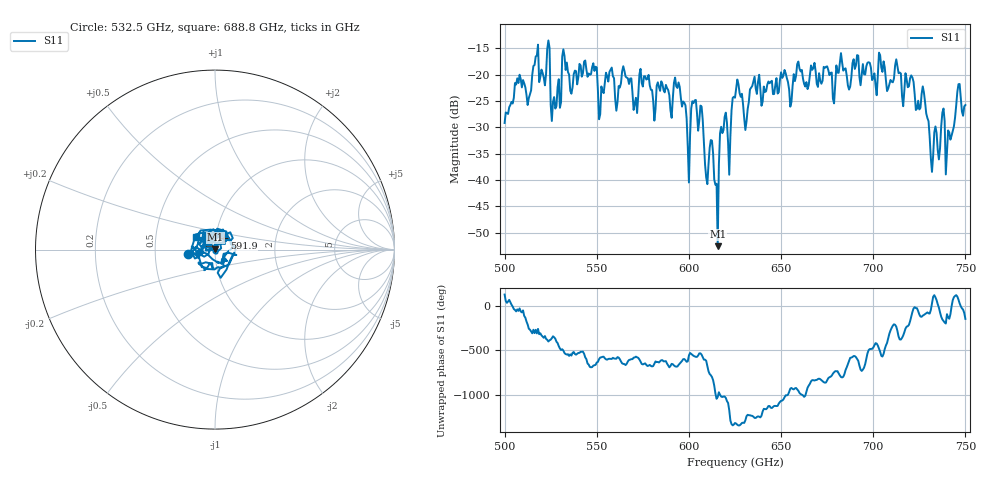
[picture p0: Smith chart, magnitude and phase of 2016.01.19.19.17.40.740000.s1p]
!Created with skrf (http://scikit-rf.org).
# GHz S RI R 50.0
!freq ReS11 ImS11
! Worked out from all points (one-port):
!   401 points, 500 GHz to 750 GHz, reference 50 ohm
!   lowest |S11| = -52.5 dB at 615.6 GHz (marker M1), VSWR 1.00, Z = 50.1 + j0.199 ohm
!   |S11| at or under -10 dB: start of sweep to end of sweep
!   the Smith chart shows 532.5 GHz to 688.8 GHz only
!   S11 on the Smith chart (normalised r, x): 532.5 GHz: 0.74, -0.04; 591.9 GHz: 1.10, +0.14; 688.8 GHz: 0.80, +0.12
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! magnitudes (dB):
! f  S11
! 500 GHz  -29.2
! 506.9 GHz  -20.7
! 513.1 GHz  -24.4
! 516.9 GHz  -16.5
! 523.1 GHz  -15.1
! 526.2 GHz  -25.1
! 531.2 GHz  -16.5
! 532.5 GHz  -16.5
! 548.8 GHz  -19.3
! 551.9 GHz  -27.5
! 562.5 GHz  -22.4
! 591.9 GHz  -21.5
! 593.8 GHz  -22.5
! 599.4 GHz  -33.6
! 603.1 GHz  -24.9
! 615.6 GHz  -52.5
! 618.1 GHz  -31.1
! 621.9 GHz  -39.0
! 625 GHz  -24.4
! 630.6 GHz  -30.5
! 634.4 GHz  -22.1
! 656.2 GHz  -22.1
! 687.5 GHz  -22.3
! 688.8 GHz  -17.8
! 718.8 GHz  -22.4
! 727.5 GHz  -23.4
! 731.9 GHz  -38.4
! 750 GHz  -25.8
